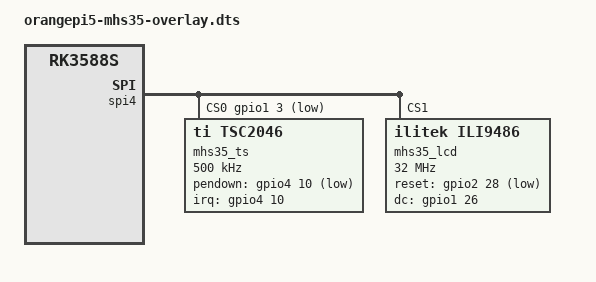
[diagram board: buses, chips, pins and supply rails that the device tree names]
/dts-v1/;
/plugin/;

/ {
  compatible = "xunlong,orangepi-5", "rockchip,rk3588s";

  fragment@0 {
    target = <&spi4>;
    __overlay__ {
      status = "okay";
      pinctrl-names = "default";
      pinctrl-0 = <&spi4m0_pins &spi4m0_cs1 &mhs35_pins>;

      /*
       * Use GPIO-backed CS for chip select 0 on physical pin 26,
       * and native CS1 for the LCD on physical pin 24.
       */
      cs-gpios = <&gpio1 3 1>, <0>;

      spi_dev@1 {
        status = "disabled";
      };

      mhs35_ts: ads7846@0 {
        compatible = "ti,tsc2046";
        reg = <0>;
        spi-max-frequency = <500000>;

        /*
         * Stock IRQ-driven ads7846 probing was unreliable on this setup, so
         * the out-of-tree ads7846_poll driver binds to the same node by using
         * driver_override. Keep the tuning values here so users can recalibrate
         * by editing one DTS file instead of patching the module source.
         */
        interrupt-parent = <&gpio4>;
        interrupts = <10 2>;
        pendown-gpio = <&gpio4 10 1>;

        ti,x-plate-ohms = /bits/ 16 <60>;
        ti,pressure-max = /bits/ 16 <255>;
        ti,poll-period-ms = <10>;
        ti,poll-sample-count = <5>;
        ti,poll-pressure-on = <80>;
        ti,poll-pressure-off = <40>;
        ti,x-min = <280>;
        ti,x-max = <3760>;
        ti,y-min = <300>;
        ti,y-max = <3886>;
        touchscreen-size-x = <480>;
        touchscreen-size-y = <320>;
        ti,cal-x-num = <9701>;
        ti,cal-x-den = <10000>;
        ti,cal-x-off = <6>;
        ti,cal-y-num = <9304>;
        ti,cal-y-den = <10000>;
        ti,cal-y-off = <9>;
      };

      mhs35_lcd: ili9486@1 {
        compatible = "ilitek,ili9486";
        reg = <1>;
        spi-max-frequency = <32000000>;
        txbuflen = <32768>;
        rotate = <90>;
        bgr = <0>;
        fps = <30>;
        buswidth = <8>;
        regwidth = <16>;

        reset-gpios = <&gpio2 28 1>;
        dc-gpios = <&gpio1 26 0>;
        debug = <0>;

        init = <
          0x10000f1 0x36 0x04 0x00 0x3c 0x0f 0x8f
          0x10000f2 0x18 0xa3 0x12 0x02 0xb2 0x12 0xff 0x10 0x00
          0x10000f8 0x21 0x04
          0x10000f9 0x00 0x08
          0x1000036 0x08
          0x10000b4 0x00
          0x10000c1 0x41
          0x10000c5 0x00 0x91 0x80 0x00
          0x10000e0 0x0f 0x1f 0x1c 0x0c 0x0f 0x08 0x48 0x98 0x37 0x0a 0x13 0x04 0x11 0x0d 0x00
          0x10000e1 0x0f 0x32 0x2e 0x0b 0x0d 0x05 0x47 0x75 0x37 0x06 0x10 0x03 0x24 0x20 0x00
          0x100003a 0x55
          0x1000011
          0x1000036 0x28
          0x20000ff
          0x1000029
        >;
      };
    };
  };

  fragment@1 {
    target = <&pinctrl>;
    __overlay__ {
      mhs35 {
        mhs35_pins: mhs35-pins {
          rockchip,pins =
            <1 3 0 &pcfg_pull_none>,
            <1 26 0 &pcfg_pull_none>,
            <2 28 0 &pcfg_pull_none>,
            <4 10 0 &pcfg_pull_up>;
        };
      };
    };
  };
};
